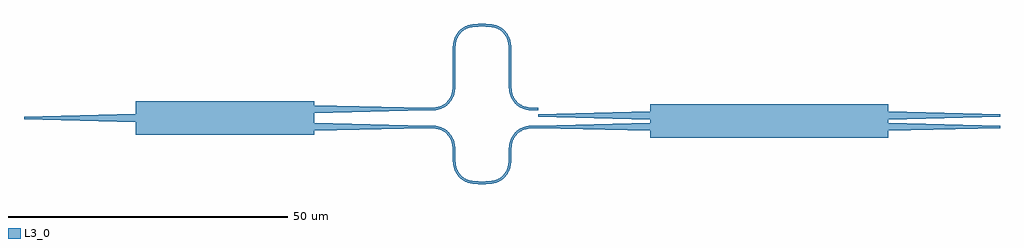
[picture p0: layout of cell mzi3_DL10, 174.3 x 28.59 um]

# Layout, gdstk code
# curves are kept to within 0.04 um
from math import pi, radians
import gdstk
lib = gdstk.Library(unit=1e-6, precision=1e-09)
def R(c, l, rs):  # rectangles x0, y0, x1, y1
    for r in rs: c.add(gdstk.rectangle(r[:2], r[2:], *l))
def P(c, l, *ps):  # polygons
    for p in ps: c.add(gdstk.Polygon(p, *l))
L3_0 = (3, 0)

bend_euler_rnone_a90_p0_ = lib.new_cell('bend_euler_RNone_A90_P0_7c94df4d')
P(bend_euler_rnone_a90_p0_, L3_0, [(0,-0.225),(0,0.225),(1.363,0.269),(2.275,0.438),(3.032,0.758),(3.717,1.283),(4.242,1.968),(4.562,2.725),(4.731,3.637),(4.775,5),(5.225,5),(5.179,3.593),(4.994,2.599),(4.632,1.743),(4.035,0.965),(3.257,0.368),(2.401,0.006),(1.407,-0.179)])

straight_l5_wnone_csxs_s = lib.new_cell('straight_L5_WNone_CSxs_sc')
R(straight_l5_wnone_csxs_s, L3_0, [(0,-0.225,5,0.225)])

mmi2x2_wnone_wt1p5_lt20_ = lib.new_cell('mmi2x2_WNone_WT1p5_LT20_ece127ae')
P(mmi2x2_wnone_wt1p5_lt20_, L3_0, [(0,-3),(0,-1.75),(-20,-1.225),(-20,-0.775),(0,-0.25),(0,0.25),(-20,0.775),(-20,1.225),(0,1.75),(0,3),(42.5,3),(42.5,1.75),(62.5,1.225),(62.5,0.775),(42.5,0.25),(42.5,-0.25),(62.5,-0.775),(62.5,-1.225),(42.5,-1.75),(42.5,-3)])

mmi1x2_wnone_wt1p5_lt20_ = lib.new_cell('mmi1x2_WNone_WT1p5_LT20_f6e7db6d')
P(mmi1x2_wnone_wt1p5_lt20_, L3_0, [(0,-3),(0,-0.75),(-20,-0.225),(-20,0.225),(0,0.75),(0,3),(31.8,3),(31.8,2.32),(51.8,1.795),(51.8,1.345),(31.8,0.82),(31.8,-0.82),(51.8,-1.345),(51.8,-1.795),(31.8,-2.32),(31.8,-3)])

mzi3_dl10 = lib.new_cell('mzi3_DL10')
mzi3_dl10.add(gdstk.Reference(bend_euler_rnone_a90_p0_, (56.8,-6.57), rotation=3*pi/2))
mzi3_dl10.add(gdstk.Reference(bend_euler_rnone_a90_p0_, (66.8,6.57), rotation=3*pi/2))
mzi3_dl10.add(gdstk.Reference(bend_euler_rnone_a90_p0_, (51.8,-1.57), x_reflection=True))
mzi3_dl10.add(gdstk.Reference(bend_euler_rnone_a90_p0_, (61.8,16.57), x_reflection=True))
mzi3_dl10.add(gdstk.Reference(bend_euler_rnone_a90_p0_, (66.8,-6.57), rotation=pi/2, x_reflection=True))
mzi3_dl10.add(gdstk.Reference(bend_euler_rnone_a90_p0_, (56.8,11.57), rotation=pi/2, x_reflection=True))
mzi3_dl10.add(gdstk.Reference(bend_euler_rnone_a90_p0_, (61.8,-11.57)))
mzi3_dl10.add(gdstk.Reference(bend_euler_rnone_a90_p0_, (51.8,1.57)))
mzi3_dl10.add(gdstk.Reference(straight_l5_wnone_csxs_s, (56.8,6.57), rotation=pi/2))
mzi3_dl10.add(gdstk.Reference(mmi2x2_wnone_wt1p5_lt20_, (91.8,-0.57)))
mzi3_dl10.add(gdstk.Reference(straight_l5_wnone_csxs_s, (66.8,11.57), rotation=3*pi/2))
mzi3_dl10.add(gdstk.Reference(mmi1x2_wnone_wt1p5_lt20_, (0,0)))

lib.write_gds('mzi3_DL10.gds')
